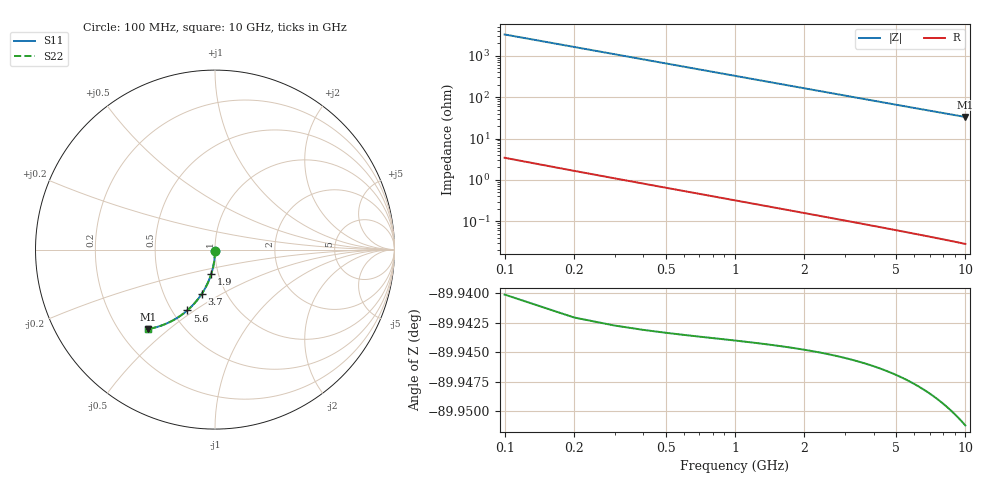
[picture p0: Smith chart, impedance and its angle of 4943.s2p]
# Hz S RI R 50.00
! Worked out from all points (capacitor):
!   100 points, 100 MHz to 10 GHz, reference 50 ohm
!   read as one part in shunt: C = 484 fF near 100 MHz
!   lowest |Z| = 33.3 ohm at 10 GHz (marker M1)
!   S11 on the Smith chart (normalised r, x): 100 MHz: 1.00, -0.01; 1.9 GHz: 0.93, -0.25; 3.7 GHz: 0.77, -0.41; 5.6 GHz: 0.59, -0.47; 10 GHz: 0.32, -0.43
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1e8  0.000114 -0.00721  0.9998 -0.00801  0.9998 -0.00801  0.000114 -0.00721
2e8  -6.5e-05 -0.0144  0.9996 -0.016  0.9996 -0.016  -6.5e-05 -0.0144
3e8  -0.00036 -0.0216  0.9993 -0.024  0.9993 -0.024  -0.00036 -0.0216
4e8  -0.00077 -0.0288  0.9989 -0.032  0.9989 -0.032  -0.00077 -0.0288
5e8  -0.0013 -0.036  0.9983 -0.04  0.9983 -0.04  -0.0013 -0.036
6e8  -0.00194 -0.0431  0.9977 -0.048  0.9977 -0.048  -0.00194 -0.0431
8e8  -0.00356 -0.0574  0.9961 -0.0639  0.9961 -0.0639  -0.00356 -0.0574
9e8  -0.00454 -0.0645  0.9951 -0.0718  0.9951 -0.0718  -0.00454 -0.0645
1.1e9  -0.00684 -0.0787  0.9927 -0.0876  0.9927 -0.0876  -0.00684 -0.0787
1.4e9  -0.0111 -0.0997  0.9884 -0.111  0.9884 -0.111  -0.0111 -0.0997
1.8e9  -0.0183 -0.1273  0.9812 -0.1418  0.9812 -0.1418  -0.0183 -0.1273
1.9e9  -0.0204 -0.134  0.9791 -0.1494  0.9791 -0.1494  -0.0204 -0.134
2.2e9  -0.0272 -0.1541  0.9722 -0.1719  0.9722 -0.1719  -0.0272 -0.1541
2.6e9  -0.0377 -0.1801  0.9617 -0.2011  0.9617 -0.2011  -0.0377 -0.1801
3.4e9  -0.0629 -0.2292  0.9363 -0.2567  0.9363 -0.2567  -0.0629 -0.2292
3.7e9  -0.0737 -0.2465  0.9255 -0.2764  0.9255 -0.2764  -0.0737 -0.2465
4.4e9  -0.1013 -0.2841  0.8977 -0.3197  0.8977 -0.3197  -0.1013 -0.2841
5.1e9  -0.1318 -0.3178  0.867 -0.3591  0.867 -0.3591  -0.1318 -0.3178
5.6e9  -0.1549 -0.3393  0.8437 -0.3847  0.8437 -0.3847  -0.1549 -0.3393
6.7e9  -0.2085 -0.3791  0.7896 -0.4337  0.7896 -0.4337  -0.2085 -0.3791
8.4e9  -0.2942 -0.4215  0.703 -0.4901  0.703 -0.4901  -0.2942 -0.4215
1e10  -0.373 -0.4425  0.6232 -0.5246  0.6232 -0.5246  -0.373 -0.4425
